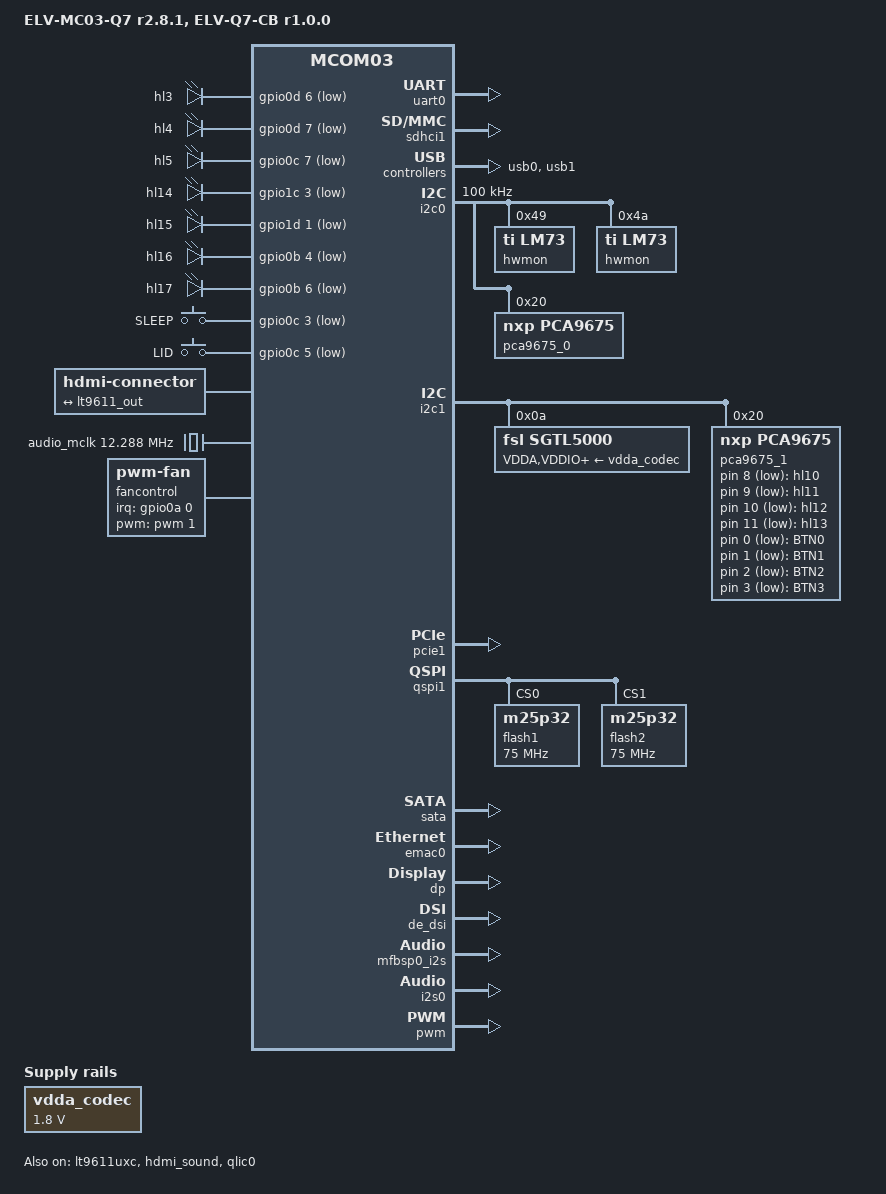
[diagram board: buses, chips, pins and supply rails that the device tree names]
// SPDX-License-Identifier: GPL-2.0+
// Copyright 2024 RnD Center "ELVEES", JSC

/dts-v1/;

#include <dt-bindings/input/linux-event-codes.h>

#include "mcom03-elvmc03q7-r2.8.1.dtsi"

/ {
	model = "ELV-MC03-Q7 r2.8.1, ELV-Q7-CB r1.0.0";
	compatible = "elvees,elvmc03q7-r2.8.1-elvq7cb-r1.0.0",
		     "elvees,elvmc03q7-elvq7cb",
		     "elvees,elvq7cb-r1.0.0",
		     "elvees,elvq7cb",
		     "elvees,elvmc03q7-r2.8.1",
		     "elvees,elvmc03q7",
		     "elvees,mcom03";

	chosen {
		stdout-path = "serial0:115200n8";
	};

	elvq7cb-leds {
		compatible = "gpio-leds";

		hl3 {
			gpios = <&gpio0d 6 GPIO_ACTIVE_LOW>;
			default-state = "off";
		};

		hl4 {
			gpios = <&gpio0d 7 GPIO_ACTIVE_LOW>;
			default-state = "off";
		};

		hl5 {
			gpios = <&gpio0c 7 GPIO_ACTIVE_LOW>;
			default-state = "off";
		};

		hl10 {
			gpios = <&pca9675_1 8 GPIO_ACTIVE_LOW>;
			default-state = "on";
			linux,default-trigger = "heartbeat";
		};

		hl11 {
			gpios = <&pca9675_1 9 GPIO_ACTIVE_LOW>;
			default-state = "off";
		};

		hl12 {
			gpios = <&pca9675_1 10 GPIO_ACTIVE_LOW>;
			default-state = "off";
		};

		hl13 {
			gpios = <&pca9675_1 11 GPIO_ACTIVE_LOW>;
			default-state = "off";
		};

		hl14 {
			/* Reserved for I2C3 SCL */
			gpios = <&gpio1c 3 GPIO_ACTIVE_LOW>;
			default-state = "off";
		};

		hl15 {
			/* Reserved for I2C3 SDA */
			gpios = <&gpio1d 1 GPIO_ACTIVE_LOW>;
			default-state = "off";
		};

		hl16 {
			/* Reserved for UART0 TX */
			gpios = <&gpio0b 4 GPIO_ACTIVE_LOW>;
			default-state = "off";
		};

		hl17 {
			/* Reserved for UART0 RX */
			gpios = <&gpio0b 6 GPIO_ACTIVE_LOW>;
			default-state = "off";
		};
	};

	elvq7cb-keys {
		compatible = "gpio-keys-polled";
		poll-interval = <100>;
		autorepeat;

		btn0 {
			gpios = <&pca9675_1 0 GPIO_ACTIVE_LOW>;
			label = "BTN0";
			linux,code = <BTN_TRIGGER_HAPPY1>;
		};

		btn1 {
			gpios = <&pca9675_1 1 GPIO_ACTIVE_LOW>;
			label = "BTN1";
			linux,code = <BTN_TRIGGER_HAPPY2>;
		};

		btn2 {
			gpios = <&pca9675_1 2 GPIO_ACTIVE_LOW>;
			label = "BTN2";
			linux,code = <BTN_TRIGGER_HAPPY3>;
		};

		btn3 {
			gpios = <&pca9675_1 3 GPIO_ACTIVE_LOW>;
			label = "BTN3";
			linux,code = <BTN_TRIGGER_HAPPY4>;
		};

		sleep {
			gpios = <&gpio0c 3 GPIO_ACTIVE_LOW>;
			label = "SLEEP";
			linux,code = <KEY_SLEEP>;
		};

		lid {
			gpios = <&gpio0c 5 GPIO_ACTIVE_LOW>;
			label = "LID";
			linux,input-type = <EV_SW>;
			linux,code = <SW_LID>;
		};
	};

	hdmi_connector: hdmi-connector {
		compatible = "hdmi-connector";
		label = "hdmi";

		type = "a";

		port {
			hdmi_connector_in: endpoint {
				remote-endpoint = <&lt9611_out>;
			};
		};
	};

	vdda_codec: vdda-codec {
		compatible = "regulator-fixed";
		regulator-name = "vdda-codec";
		regulator-min-microvolt = <1800000>;
		regulator-max-microvolt = <1800000>;
		regulator-always-on;
	};

	/* "G1" oscillator */
	audio_mclk: audio_mclk {
		#clock-cells = <0>;
		compatible = "fixed-clock";
		clock-frequency = <12288000>;
	};

	/* TRS (3.5mm jack) connected to SGTL5000 codec.
	   SGTL5000 connected to MCom-03 I2S0 as I2S slave.
	   */
	elvq7cb_i2s_asound {
		compatible = "simple-audio-card";
		simple-audio-card,name = "analog-audio";
		simple-audio-card,format = "i2s";
		simple-audio-card,bitclock-master = <&dailink1_master>;
		simple-audio-card,frame-master = <&dailink1_master>;
		simple-audio-card,continuous-clock;
		simple-audio-card,routing =
			"MIC_IN", "Mic Bias";

		dailink1_master: simple-audio-card,cpu {
			sound-dai = <&mfbsp0_i2s>;
		};

		simple-audio-card,codec {
			sound-dai = <&sgtl5000>;
		};
	};

	fancontrol: pwm-fan {
		compatible = "pwm-fan";
		pwms = <&pwm 1 40000 0>;
		#cooling-cells = <2>;
		cooling-levels = <0 102 180 230>;
		interrupt-parent = <&gpio0a>;
		interrupts = <0 IRQ_TYPE_EDGE_FALLING>;
	};
};

&uart0 {
	status = "okay";
};

&sdhci1 {
	status = "okay";

	/* Disable 1.8V support
	 * Disable SDR50, SDR104 and DDR50 support
	 */
	sdhci-caps-mask = <0x7 0x4000000>;
	sdhci-caps = <0x0 0x0>;
};

/* Connected to USB 3.0 (USB0) */
&usb0 {
	status = "okay";
};

/* Connected to USB 2.0 (USB1, USB2-3) and USB 3.0 (USB4-5) */
&usb1 {
	status = "okay";
};

&i2c0 {
	status = "okay";
	clock-frequency = <100000>;

	/* LM73 temperature sensors */
	hwmon@49 {
		compatible = "ti,lm73";
		reg = <0x49>;
	};

	hwmon@4a {
		compatible = "ti,lm73";
		reg = <0x4a>;
	};

	/* I2C GPIO expander (PCA9675) */
	pca9675_0: gpio-expander@20 {
		compatible = "nxp,pca9675";
		reg = <0x20>;
		gpio-controller;
		#gpio-cells = <2>;

		gpio-line-names = "", "", "", "PCIe_PRSNT",
				  "", "I2C_OUT5", "I2C_OUT6", "I2C_OUT7",
				  "I2C_OUT10", "I2C_EXP_TP1", "I2C_EXP_TP2", "I2C_EXP_TP3",
				  "I2C_EXP_TP4", "I2C_EXP_TP5", "I2C_EXP_TP6", "I2C_EXP_TP7";
	};
};

&i2c1 {
	status = "okay";

	sgtl5000: codec@a {
		status = "okay";
		compatible = "fsl,sgtl5000";
		reg = <0x0a>;
		#sound-dai-cells = <0>;
		clocks = <&audio_mclk>;
		clock-names = "mclk";
		micbias-resistor-k-ohms = <2>;
		micbias-voltage-m-volts = <2250>;
		VDDA-supply = <&vdda_codec>;
		VDDIO-supply = <&vdda_codec>;
		VDDD-supply = <&vdda_codec>;
	};

	/* I2C GPIO expander (PCA9675) */
	pca9675_1: gpio-expander@20 {
		compatible = "nxp,pca9675";
		reg = <0x20>;
		gpio-controller;
		#gpio-cells = <2>;

		gpio-line-names = "BTN_0", "BTN_1", "BTN_2", "BTN_3",
				  "EXT_BTN_0", "EXT_BTN_1", "EXT_BTN_2", "EXT_BTN_3",
				  "HL10", "HL11", "HL12", "HL13",
				  "EXT_LED_0", "EXT_LED_1", "EXT_LED_2", "EXT_LED_3";
	};
};

/* Connected to PCIe bridge */
&pcie1 {
	status = "okay";
};

&qspi1 {
	status = "okay";
	num-cs = <2>;

	flash1: m25p32@0 {
		#address-cells = <1>;
		#size-cells = <1>;
		compatible = "m25p32", "jedec,spi-nor";
		spi-max-frequency = <75000000>;
		reg = <0x0>;
	};

	flash2: m25p32@1 {
		#address-cells = <1>;
		#size-cells = <1>;
		compatible = "m25p32", "jedec,spi-nor";
		spi-max-frequency = <75000000>;
		reg = <0x1>;
	};
};

/* Connected to SATA plug */
&sata {
	status = "okay";
};

/* Connected to RJ-45 (XS1) */
&emac0 {
	status = "okay";
};

&dp {
	status = "okay";
};

&de_dsi {
	status = "okay";
};

&lt9611uxc {
	status = "okay";

	ports {
		port@2 {
			reg = <2>;
			lt9611_out: endpoint {
				remote-endpoint = <&hdmi_connector_in>;
			};
		};
	};
};

&hdmi_sound {
	status = "okay";
};

&mfbsp0_i2s {
	status = "okay";
};

&qlic0 {
	status = "okay";
};

&i2s0 {
	status = "okay";

	pinctrl-names = "default";
	pinctrl-0 = <&i2s0_default_cfg &i2s0_mux_sdo0>;
};

&pwm {
	status = "okay";
	elvees,output-channel = <0 0 0 0>;
	elvees,state-on-disable = <0 1 0 0>;

	pinctrl-names = "default";
	pinctrl-0 = <&pwm_oena1_mux>;
};

/*
 * Upon reaching the trip point the thermal subsystem driver enables the fans.
 *
 * Thermal zones can be enabled/disabled via sysfs by writing said state into
 * the corresponding /sys/class/thermal/thermal_zoneX/mode file.
 */
&cpu_thermal {
	cooling_maps: cooling-maps {
		map0 {
			trip = <&cpu_alert0>;
			cooling-device = <&fancontrol
					  THERMAL_NO_LIMIT
					  THERMAL_NO_LIMIT>;
		};
	};
};
